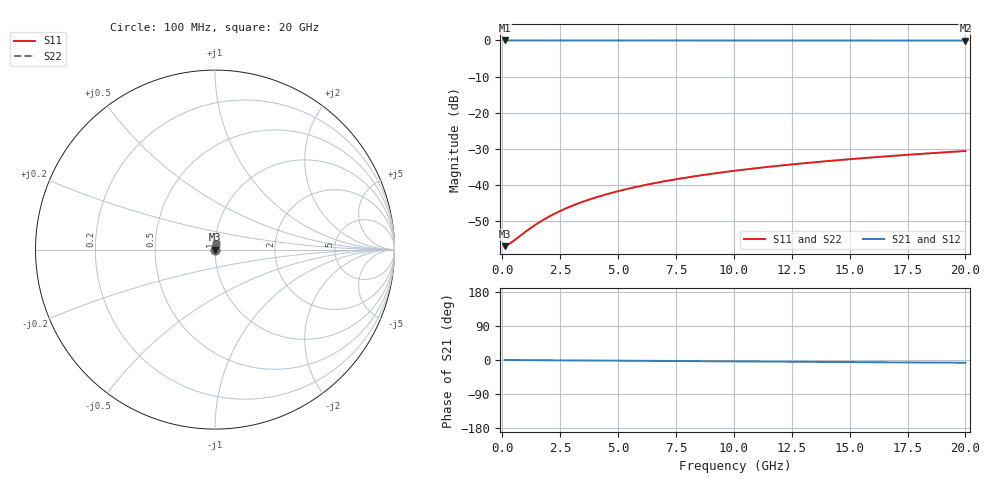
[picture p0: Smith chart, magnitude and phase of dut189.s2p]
! Touchstone file exported from HFSS 2026.1.0
!  File:  C:/ffzhzh/LocalFiles/Ansys_Project_Files/temp_train_TSV_189_1782991483_45328.aedt
!  Generated:  07:26:29 PM Jul  2, 2026
!  Design:  TSV
!  Project:  temp_train_TSV_189_1782991483_45328
! Variables:
!  h_bsmrdl = 2um
!  h_ox = 20um
!  h_rdl = 5um
!  h_sub = 77.27um
!  h_tmrdl = 5um
!  h_tsv = 77.27um
!  h_via = 3um
!  l_bsmrdl = 300um
!  l_sub = 405.04um
!  l_tmrdl = 200um
!  m_sub = 200um
!  pitch = 14.31um
!  r_tsv = 2.52um
!  s_tmrdl = 10um
!  w_bsmrdl = 18um
!  w_sub = 500um
!  w_tmrdl = 12um
!  x_tsv_center1 = 206um
!  x_tsv_center2 = 524um
!  x_tsv_center3 = 736um
!  x_tsv_center4 = 1054um
!  x_tsv_center5 = 1266um
!  x_tsv_center6 = 1584um
# GHz S MA R 50.000000
! Terminal data exported
! Port[1] = TSV1_1_T1
! Port[2] = TSV1_1_T2
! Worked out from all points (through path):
!   200 points, 100 MHz to 20 GHz, reference 50 ohm
!   highest |S21| = -0.01 dB at 100 MHz (marker M1); lowest = 0.0 dB at 20 GHz (marker M2)
!   group delay of S21, straight-line fit = 1.01 ps
!   lowest |S11| = -56.9 dB at 100 MHz (marker M3), VSWR 1.00, Z = 50.1 + j0.018 ohm
!   |S11| at or under -10 dB: start of sweep to end of sweep
!   |S22| runs from -56.9 to -30.6 dB; largest |S21 - S12| = 2.3e-15
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0.1  0.001423 7.2  0.9986 -0.0  0.9986 -0.0  0.001423 7.2
! Gamma 0 0 0 0
! Port Impedance 50 0 50 0
0.2  0.001465 14.1  0.9986 -0.1  0.9986 -0.1  0.001465 14.1
0.3  0.001528 20.3  0.9986 -0.1  0.9986 -0.1  0.001528 20.3
0.5  0.001697 30.5  0.9985 -0.2  0.9985 -0.2  0.001697 30.5
1.2  0.002506 52.1  0.9985 -0.5  0.9985 -0.5  0.002506 52.1
1.5  0.00291 57.3  0.9985 -0.6  0.9985 -0.6  0.00291 57.3
1.9  0.003478 62.4  0.9984 -0.7  0.9984 -0.7  0.003478 62.4
2.3  0.004067 65.9  0.9984 -0.9  0.9984 -0.9  0.004067 65.9
2.7  0.004669 68.5  0.9984 -1.0  0.9984 -1.0  0.004669 68.5
3.1  0.005278 70.4  0.9983 -1.2  0.9983 -1.2  0.005278 70.4
3.5  0.005892 71.8  0.9983 -1.3  0.9983 -1.3  0.005892 71.8
4.2  0.00697 73.6  0.9982 -1.6  0.9982 -1.6  0.00697 73.6
5  0.008201 74.8  0.9981 -1.9  0.9981 -1.9  0.008201 74.8
5.9  0.009579 75.7  0.9979 -2.2  0.9979 -2.2  0.009579 75.7
6.8  0.01094 76.2  0.9978 -2.5  0.9978 -2.5  0.01094 76.2
8.3  0.01318 76.6  0.9975 -3.1  0.9975 -3.1  0.01318 76.6
10.1  0.01581 76.6  0.9972 -3.7  0.9972 -3.7  0.01582 76.6
11.7  0.01811 76.4  0.9969 -4.3  0.9969 -4.3  0.01811 76.4
13.4  0.0205 76.2  0.9966 -4.9  0.9966 -4.9  0.0205 76.2
15  0.02272 75.9  0.9964 -5.5  0.9964 -5.5  0.02272 75.9
16.7  0.02505 75.6  0.9961 -6.1  0.9961 -6.1  0.02505 75.6
20  0.02951 74.9  0.9956 -7.3  0.9956 -7.3  0.02951 74.9
